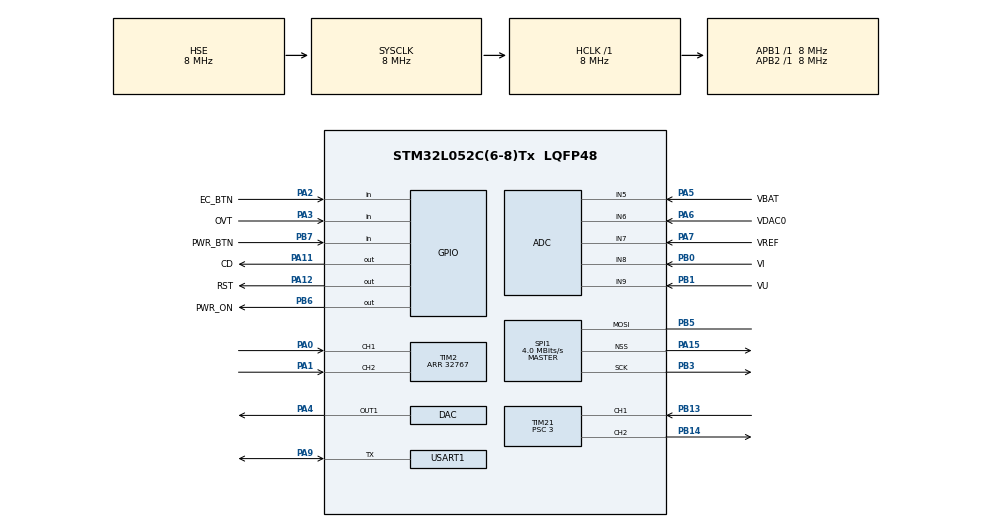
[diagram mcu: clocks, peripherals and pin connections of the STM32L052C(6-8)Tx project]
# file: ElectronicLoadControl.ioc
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ADC.ContinuousConvMode=ENABLE
ADC.ExternalTrigConv=ADC_EXTERNALTRIGCONV_T6_TRGO
ADC.SamplingTime=ADC_SAMPLETIME_160CYCLES_5
DAC.DAC_Trigger=DAC_TRIGGER_T6_TRGO
Dma.ADC.1.Direction=DMA_PERIPH_TO_MEMORY
Dma.ADC.1.Instance=DMA1_Channel1
Dma.ADC.1.MemDataAlignment=DMA_MDATAALIGN_HALFWORD
Dma.ADC.1.MemInc=DMA_MINC_ENABLE
Dma.ADC.1.Mode=DMA_CIRCULAR
Dma.ADC.1.PeriphDataAlignment=DMA_PDATAALIGN_HALFWORD
Dma.ADC.1.PeriphInc=DMA_PINC_DISABLE
Dma.ADC.1.Priority=DMA_PRIORITY_LOW
Dma.DAC_CH1.0.Direction=DMA_MEMORY_TO_PERIPH
Dma.DAC_CH1.0.Instance=DMA1_Channel2
Dma.DAC_CH1.0.MemDataAlignment=DMA_MDATAALIGN_HALFWORD
Dma.DAC_CH1.0.MemInc=DMA_MINC_ENABLE
Dma.DAC_CH1.0.Mode=DMA_NORMAL
Dma.DAC_CH1.0.PeriphDataAlignment=DMA_PDATAALIGN_HALFWORD
Dma.DAC_CH1.0.PeriphInc=DMA_PINC_DISABLE
Dma.DAC_CH1.0.Priority=DMA_PRIORITY_LOW
Dma.Request0=DAC_CH1
Dma.Request1=ADC
Mcu.Family=STM32L0
Mcu.Name=STM32L052C(6-8)Tx
Mcu.Package=LQFP48
NVIC.DMA1_Channel1_IRQn=true\:0\:0\:false\:false\:true\:false\:true
NVIC.DMA1_Channel2_3_IRQn=true\:0\:0\:false\:false\:true\:false\:true
NVIC.SPI1_IRQn=true\:0\:0\:false\:false\:true\:true\:true
NVIC.TIM21_IRQn=true\:0\:0\:false\:false\:true\:true\:true
NVIC.TIM22_IRQn=true\:0\:0\:false\:false\:true\:true\:true
NVIC.TIM6_DAC_IRQn=true\:0\:0\:false\:false\:true\:true\:true
PA0.Signal=S_TIM2_CH1
PA1.Signal=S_TIM2_CH2
PA11.GPIO_Label=CD
PA11.Signal=GPIO_Output
PA12.GPIO_Label=RST
PA12.Signal=GPIO_Output
PA13.Mode=Serial_Wire
PA13.Signal=SYS_SWDIO
PA14.Mode=Serial_Wire
PA14.Signal=SYS_SWCLK
PA15.Mode=NSS_Signal_Hard_Output
PA15.Signal=SPI1_NSS
PA2.GPIO_Label=EC_BTN
PA2.Signal=GPIO_Input
PA3.GPIO_Label=OVT
PA3.Signal=GPIO_Input
PA4.Signal=COMP_DAC1_group
PA5.GPIO_Label=VBAT
PA5.Mode=IN5
PA5.Signal=ADC_IN5
PA6.GPIO_Label=VDAC0
PA6.Mode=IN6
PA6.Signal=ADC_IN6
PA7.GPIO_Label=VREF
PA7.Mode=IN7
PA7.Signal=ADC_IN7
PA9.Mode=Half_duplex(single_wire_mode)
PA9.Signal=USART1_TX
PB0.GPIO_Label=VI
PB0.Mode=IN8
PB0.Signal=ADC_IN8
PB1.GPIO_Label=VU
PB1.Mode=IN9
PB1.Signal=ADC_IN9
PB13.Signal=S_TIM21_CH1
PB14.Signal=S_TIM21_CH2
PB3.Mode=Simplex_Bidirectional_Master
PB3.Signal=SPI1_SCK
PB5.Mode=Simplex_Bidirectional_Master
PB5.Signal=SPI1_MOSI
PB6.GPIO_Label=PWR_ON
PB6.Signal=GPIO_Output
PB7.GPIO_Label=PWR_BTN
PB7.Signal=GPIO_Input
PH0-OSC_IN.Mode=HSE-External-Clock-Source
PH0-OSC_IN.Signal=RCC_OSC_IN
ProjectManager.HeapSize=0x200
ProjectManager.StackSize=0x400
ProjectManager.TargetToolchain=STM32CubeIDE
RCC.AHBFreq_Value=8000000
RCC.APB1Freq_Value=8000000
RCC.APB1TimFreq_Value=8000000
RCC.APB2Freq_Value=8000000
RCC.APB2TimFreq_Value=8000000
RCC.HCLKFreq_Value=8000000
RCC.HSE_VALUE=8000000
RCC.HSI16_VALUE=16000000
RCC.HSI48_VALUE=48000000
RCC.HSI_VALUE=16000000
RCC.LSE_VALUE=32768
RCC.MSI_VALUE=2097000
RCC.SYSCLKFreq_VALUE=8000000
RCC.SYSCLKSource=RCC_SYSCLKSOURCE_HSE
RCC.VCOOutputFreq_Value=48000000
SH.COMP_DAC1_group.0=DAC_OUT1,DAC_OUT1
SH.S_TIM21_CH1.0=TIM21_CH1,Input_Capture1_from_TI1
SH.S_TIM21_CH2.0=TIM21_CH2,PWM Generation2 CH2
SH.S_TIM2_CH1.0=TIM2_CH1,Encoder_Interface
SH.S_TIM2_CH2.0=TIM2_CH2,Encoder_Interface
SPI1.CalculateBaudRate=4.0 MBits/s
SPI1.Direction=SPI_DIRECTION_1LINE
SPI1.Mode=SPI_MODE_MASTER
SPI1.VirtualNSS=VM_NSSHARD
SPI1.VirtualType=VM_MASTER
TIM2.EncoderMode=TIM_ENCODERMODE_TI1
TIM2.IC1Filter=15
TIM2.IC1Polarity=TIM_ICPOLARITY_FALLING
TIM2.IC2Filter=15
TIM2.IC2Polarity=TIM_ICPOLARITY_FALLING
TIM2.Period=32767
TIM21.Channel-Input_Capture1_from_TI1=TIM_CHANNEL_1
TIM21.Channel-PWM\ Generation2\ CH2=TIM_CHANNEL_2
TIM21.ICFilter_CH1=15
TIM21.Period=99
TIM21.Prescaler=3
TIM21.Pulse-PWM\ Generation2\ CH2=49
TIM22.Period=99
TIM22.Prescaler=399
TIM6.AutoReloadPreload=TIM_AUTORELOAD_PRELOAD_ENABLE
TIM6.Period=99
TIM6.Prescaler=79
TIM6.TIM_MasterOutputTrigger=TIM_TRGO_UPDATE
USART1.VirtualMode-Half_duplex(single_wire_mode)=VM_ASYNC
VP_TIM21_VS_ClockSourceINT.Mode=Internal
VP_TIM22_VS_ClockSourceINT.Mode=Internal
VP_TIM6_VS_ClockSourceINT.Mode=Enable_Timer
board=custom

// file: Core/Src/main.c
/* USER CODE BEGIN Header */
/**
  ******************************************************************************
  * @file           : main.c
  * @brief          : Main program body
  ******************************************************************************
  * @attention
  *
  * <h2><center>&copy; Copyright (c) 2023 STMicroelectronics.
  * All rights reserved.</center></h2>
  *
  * This software component is licensed by ST under BSD 3-Clause license,
  * the "License"; You may not use this file except in compliance with the
  * License. You may obtain a copy of the License at:
  *                        opensource.org/licenses/BSD-3-Clause
  *
  ******************************************************************************
  */
/* USER CODE END Header */
#include "main.h"

/* USER CODE BEGIN Includes */
#include "display_windows.h"
/* USER CODE END Includes */

ADC_HandleTypeDef hadc;
DMA_HandleTypeDef hdma_adc;

DAC_HandleTypeDef hdac;
DMA_HandleTypeDef hdma_dac_ch1;

SPI_HandleTypeDef hspi1;

TIM_HandleTypeDef htim2;
TIM_HandleTypeDef htim6;
TIM_HandleTypeDef htim21;
TIM_HandleTypeDef htim22;

UART_HandleTypeDef huart1;

/* USER CODE BEGIN PV */
TIM_HandleTypeDef htim22;

extern Data loadData;
/* USER CODE END PV */

void SystemClock_Config(void);
static void MX_GPIO_Init(void);
static void MX_DMA_Init(void);
static void MX_DAC_Init(void);
static void MX_TIM2_Init(void);
static void MX_ADC_Init(void);
static void MX_TIM6_Init(void);
static void MX_SPI1_Init(void);
static void MX_TIM21_Init(void);
static void MX_USART1_UART_Init(void);
static void MX_TIM22_Init(void);

int main(void)
{
  /* USER CODE BEGIN 1 */
	uint8_t ec_btn_prev_state = 0;
	Action encoder_offset_action = NoAction;
	int16_t encoder_offset = 0;
	uint8_t is_current_offset_too_big = 0;
  /* USER CODE END 1 */

  /* MCU Configuration--------------------------------------------------------*/

  /* Reset of all peripherals, Initializes the Flash interface and the Systick. */
  HAL_Init();

  /* Configure the system clock */
  SystemClock_Config();

  /* Initialize all configured peripherals */
  MX_GPIO_Init();
  // wait power on
  HAL_Delay(1000);
  load_control_drv->powerControl(1);
  // continue initialization
  MX_DMA_Init();
  MX_DAC_Init();
  MX_TIM2_Init();
  MX_ADC_Init();
  MX_TIM6_Init();
  MX_SPI1_Init();
  MX_TIM21_Init();
  MX_USART1_UART_Init();
  MX_TIM22_Init();
  /* USER CODE BEGIN 2 */
  MX_TIM22_Init();

  // init load control
  load_control_drv->loadInit();

  // init display windows and draw main window
  display_wnd_ctrl->windowsInit();

  /* USER CODE END 2 */

  /* Infinite loop */
  while (1)
  {

    /* USER CODE BEGIN 3 */
	  if(loadData.is_update_event)
	  {
		  loadData.is_update_event = 0;

		  // check power button state
		  load_control_drv->checkPowerButton();

		  // handle encoder button pressed event
		  if((EC_BTN_GPIO_Port->IDR & EC_BTN_Pin) && ec_btn_prev_state) // button was released
		  {
			    ec_btn_prev_state = 0;
		  }
		  if(!(EC_BTN_GPIO_Port->IDR & EC_BTN_Pin) && !ec_btn_prev_state) // button was pressed
		  {
				ec_btn_prev_state = 1;
				// change window
				display_wnd_ctrl->goToNextWindowOrItem();
		  }

		  // handle encoder offset event
		  encoder_offset = load_control_drv->getEncoderOffset();
		  if(encoder_offset != 0)
		  {
				encoder_offset_action = (encoder_offset > 0) ? Next : Prev;
				display_wnd_ctrl->updateWindowParameters(encoder_offset_action);
		  }

		  // update DS18B20 temperature and check over temperature event
		  load_control_drv->updateTemperature();
		  loadData.is_ovt = load_control_drv->checkOvertemperature();
		  if(loadData.is_ovt && loadData.on_state) // if over temperature and load is enabled reset current
		  {
			  load_control_drv->setEnabled(0);
		  }
		  // fan speed control
		  load_control_drv->fanSpeedControl();
	  }

	  // handle end of ADC data conversion event
	  if(loadData.is_conversion_ended)
	  {
		  loadData.is_conversion_ended = 0;

		  // update ADC measured parameters
		  load_control_drv->calcMeasuredParams();

		  // check accumulator voltage in Discharge mode
		  if(loadData.load_settings.load_work_mode == BatteryDischarge && loadData.voltage < loadData.load_settings.discharge_voltage
				  && !loadData.is_battery_discharge_detected && loadData.on_state)
		  {
			  loadData.is_battery_discharge_detected = 1;
			  // if accumulator voltage lower discharge voltage level, reset current
			  load_control_drv->setEnabled(0);
			  // show message box
			  display_wnd_ctrl->drawBatteryDischargedMsgBox();
		  }

		  // set current value in constant power mode
		  if(loadData.load_settings.load_work_mode == BatteryDischarge && loadData.load_settings.bat_disch_option == ConstPower && loadData.on_state)
		  {
			  // calculate current value
			  if(loadData.voltage >= 0.1f)
			  {
				  loadData.set_current = loadData.set_power/loadData.voltage;
				  if(loadData.set_current > 20.0f) loadData.set_current = 20.0f;
			  }
			  else
			  {
				  load_control_drv->setEnabled(0); // disable load if no voltage
			  }
		  }

		  // update current value
		  if(loadData.on_state && !loadData.is_calibration_mode)
		  {
			  // current controller
#ifdef IS_CURRENT_CONTROLLER_ENABLED
			  load_control_drv->currentController();
#else
			  // check to calculate set current offset value
			  if(!loadData.is_offset_checked)
			  {
				  if(loadData.offset_check_cntr-- == 0)
				  {
					  loadData.set_current_offset = loadData.set_current - loadData.measured_current;
					  if(loadData.set_current >= 0.99f)
					  {
						  is_current_offset_too_big = (loadData.set_current_offset > 0.1f*loadData.set_current);
					  }
					  else
					  {
						  is_current_offset_too_big = (loadData.set_current_offset > 0.1f);
					  }

					  // if offset too big (for example no load), restart check process
					  if(is_current_offset_too_big)
					  {
						  loadData.offset_check_cntr = OFFSET_CHECK_DELAY_TICKS;
						  loadData.set_current_offset = 0.0f;
					  }
					  else
					  {
						  loadData.is_offset_checked = 1;
					  }
				  }
			  }
			  load_control_drv->setCurrentInAmperes(loadData.set_current + loadData.set_current_offset);
#endif
		  }

		  // update display data
		  display_wnd_ctrl->refreshWindow();
	  }
  }
  /* USER CODE END 3 */
}

void SystemClock_Config(void)
{
  RCC_OscInitTypeDef RCC_OscInitStruct = {0};
  RCC_ClkInitTypeDef RCC_ClkInitStruct = {0};
  RCC_PeriphCLKInitTypeDef PeriphClkInit = {0};

  /** Configure the main internal regulator output voltage
  */
  __HAL_PWR_VOLTAGESCALING_CONFIG(PWR_REGULATOR_VOLTAGE_SCALE1);
  /** Initializes the RCC Oscillators according to the specified parameters
  * in the RCC_OscInitTypeDef structure.
  */
  RCC_OscInitStruct.OscillatorType = RCC_OSCILLATORTYPE_HSE;
  RCC_OscInitStruct.HSEState = RCC_HSE_BYPASS;
  RCC_OscInitStruct.PLL.PLLState = RCC_PLL_NONE;
  if (HAL_RCC_OscConfig(&RCC_OscInitStruct) != HAL_OK)
  {
    Error_Handler();
  }
  /** Initializes the CPU, AHB and APB buses clocks
  */
  RCC_ClkInitStruct.ClockType = RCC_CLOCKTYPE_HCLK|RCC_CLOCKTYPE_SYSCLK
                              |RCC_CLOCKTYPE_PCLK1|RCC_CLOCKTYPE_PCLK2;
  RCC_ClkInitStruct.SYSCLKSource = RCC_SYSCLKSOURCE_HSE;
  RCC_ClkInitStruct.AHBCLKDivider = RCC_SYSCLK_DIV1;
  RCC_ClkInitStruct.APB1CLKDivider = RCC_HCLK_DIV1;
  RCC_ClkInitStruct.APB2CLKDivider = RCC_HCLK_DIV1;

  if (HAL_RCC_ClockConfig(&RCC_ClkInitStruct, FLASH_LATENCY_0) != HAL_OK)
  {
    Error_Handler();
  }
  PeriphClkInit.PeriphClockSelection = RCC_PERIPHCLK_USART1;
  PeriphClkInit.Usart1ClockSelection = RCC_USART1CLKSOURCE_PCLK2;
  if (HAL_RCCEx_PeriphCLKConfig(&PeriphClkInit) != HAL_OK)
  {
    Error_Handler();
  }
  HAL_RCC_MCOConfig(RCC_MCO1, RCC_MCO1SOURCE_SYSCLK, RCC_MCODIV_1);
}

static void MX_ADC_Init(void)
{

  ADC_ChannelConfTypeDef sConfig = {0};

  /** Configure the global features of the ADC (Clock, Resolution, Data Alignment and number of conversion)
  */
  hadc.Instance = ADC1;
  hadc.Init.OversamplingMode = DISABLE;
  hadc.Init.ClockPrescaler = ADC_CLOCK_SYNC_PCLK_DIV1;
  hadc.Init.Resolution = ADC_RESOLUTION_12B;
  hadc.Init.SamplingTime = ADC_SAMPLETIME_160CYCLES_5;
  hadc.Init.ScanConvMode = ADC_SCAN_DIRECTION_FORWARD;
  hadc.Init.DataAlign = ADC_DATAALIGN_RIGHT;
  hadc.Init.ContinuousConvMode = DISABLE;
  hadc.Init.DiscontinuousConvMode = DISABLE;
  hadc.Init.ExternalTrigConvEdge = ADC_EXTERNALTRIGCONVEDGE_RISING;
  hadc.Init.ExternalTrigConv = ADC_EXTERNALTRIGCONV_T6_TRGO;
  hadc.Init.DMAContinuousRequests = ENABLE;
  hadc.Init.EOCSelection = ADC_EOC_SEQ_CONV;
  hadc.Init.Overrun = ADC_OVR_DATA_PRESERVED;
  hadc.Init.LowPowerAutoWait = DISABLE;
  hadc.Init.LowPowerFrequencyMode = DISABLE;
  hadc.Init.LowPowerAutoPowerOff = DISABLE;
  if (HAL_ADC_Init(&hadc) != HAL_OK)
  {
    Error_Handler();
  }
  /** Configure for the selected ADC regular channel to be converted.
  */
  sConfig.Channel = ADC_CHANNEL_5;
  sConfig.Rank = ADC_RANK_CHANNEL_NUMBER;
  if (HAL_ADC_ConfigChannel(&hadc, &sConfig) != HAL_OK)
  {
    Error_Handler();
  }
  /** Configure for the selected ADC regular channel to be converted.
  */
  sConfig.Channel = ADC_CHANNEL_6;
  if (HAL_ADC_ConfigChannel(&hadc, &sConfig) != HAL_OK)
  {
    Error_Handler();
  }
  /** Configure for the selected ADC regular channel to be converted.
  */
  sConfig.Channel = ADC_CHANNEL_7;
  if (HAL_ADC_ConfigChannel(&hadc, &sConfig) != HAL_OK)
  {
    Error_Handler();
  }
  /** Configure for the selected ADC regular channel to be converted.
  */
  sConfig.Channel = ADC_CHANNEL_8;
  if (HAL_ADC_ConfigChannel(&hadc, &sConfig) != HAL_OK)
  {
    Error_Handler();
  }
  /** Configure for the selected ADC regular channel to be converted.
  */
  sConfig.Channel = ADC_CHANNEL_9;
  if (HAL_ADC_ConfigChannel(&hadc, &sConfig) != HAL_OK)
  {
    Error_Handler();
  }

}

static void MX_DAC_Init(void)
{

  DAC_ChannelConfTypeDef sConfig = {0};

  /** DAC Initialization
  */
  hdac.Instance = DAC;
  if (HAL_DAC_Init(&hdac) != HAL_OK)
  {
    Error_Handler();
  }
  /** DAC channel OUT1 config
  */
  sConfig.DAC_Trigger = DAC_TRIGGER_T6_TRGO;
  sConfig.DAC_OutputBuffer = DAC_OUTPUTBUFFER_ENABLE;
  if (HAL_DAC_ConfigChannel(&hdac, &sConfig, DAC_CHANNEL_1) != HAL_OK)
  {
    Error_Handler();
  }

}

static void MX_SPI1_Init(void)
{

  /* SPI1 parameter configuration*/
  hspi1.Instance = SPI1;
  hspi1.Init.Mode = SPI_MODE_MASTER;
  hspi1.Init.Direction = SPI_DIRECTION_1LINE;
  hspi1.Init.DataSize = SPI_DATASIZE_8BIT;
  hspi1.Init.CLKPolarity = SPI_POLARITY_LOW;
  hspi1.Init.CLKPhase = SPI_PHASE_1EDGE;
  hspi1.Init.NSS = SPI_NSS_HARD_OUTPUT;
  hspi1.Init.BaudRatePrescaler = SPI_BAUDRATEPRESCALER_2;
  hspi1.Init.FirstBit = SPI_FIRSTBIT_MSB;
  hspi1.Init.TIMode = SPI_TIMODE_DISABLE;
  hspi1.Init.CRCCalculation = SPI_CRCCALCULATION_DISABLE;
  hspi1.Init.CRCPolynomial = 7;
  if (HAL_SPI_Init(&hspi1) != HAL_OK)
  {
    Error_Handler();
  }

}

static void MX_TIM2_Init(void)
{

  TIM_Encoder_InitTypeDef sConfig = {0};
  TIM_MasterConfigTypeDef sMasterConfig = {0};

  htim2.Instance = TIM2;
  htim2.Init.Prescaler = 0;
  htim2.Init.CounterMode = TIM_COUNTERMODE_UP;
  htim2.Init.Period = 65535;
  htim2.Init.ClockDivision = TIM_CLOCKDIVISION_DIV1;
  htim2.Init.AutoReloadPreload = TIM_AUTORELOAD_PRELOAD_DISABLE;
  sConfig.EncoderMode = TIM_ENCODERMODE_TI1;
  sConfig.IC1Polarity = TIM_ICPOLARITY_FALLING;
  sConfig.IC1Selection = TIM_ICSELECTION_DIRECTTI;
  sConfig.IC1Prescaler = TIM_ICPSC_DIV1;
  sConfig.IC1Filter = 15;
  sConfig.IC2Polarity = TIM_ICPOLARITY_FALLING;
  sConfig.IC2Selection = TIM_ICSELECTION_DIRECTTI;
  sConfig.IC2Prescaler = TIM_ICPSC_DIV1;
  sConfig.IC2Filter = 15;
  if (HAL_TIM_Encoder_Init(&htim2, &sConfig) != HAL_OK)
  {
    Error_Handler();
  }
  sMasterConfig.MasterOutputTrigger = TIM_TRGO_RESET;
  sMasterConfig.MasterSlaveMode = TIM_MASTERSLAVEMODE_DISABLE;
  if (HAL_TIMEx_MasterConfigSynchronization(&htim2, &sMasterConfig) != HAL_OK)
  {
    Error_Handler();
  }
  /* USER CODE BEGIN TIM2_Init 2 */
  TIM2->CNT = 32767;
  HAL_TIM_Encoder_Start(&htim2, TIM_CHANNEL_1);
  /* USER CODE END TIM2_Init 2 */

}

static void MX_TIM6_Init(void)
{

  TIM_MasterConfigTypeDef sMasterConfig = {0};

  htim6.Instance = TIM6;
  htim6.Init.Prescaler = 79;
  htim6.Init.CounterMode = TIM_COUNTERMODE_UP;
  htim6.Init.Period = 99;
  htim6.Init.AutoReloadPreload = TIM_AUTORELOAD_PRELOAD_ENABLE;
  if (HAL_TIM_Base_Init(&htim6) != HAL_OK)
  {
    Error_Handler();
  }
  sMasterConfig.MasterOutputTrigger = TIM_TRGO_UPDATE;
  sMasterConfig.MasterSlaveMode = TIM_MASTERSLAVEMODE_DISABLE;
  if (HAL_TIMEx_MasterConfigSynchronization(&htim6, &sMasterConfig) != HAL_OK)
  {
    Error_Handler();
  }

}

static void MX_TIM21_Init(void)
{

  TIM_ClockConfigTypeDef sClockSourceConfig = {0};
  TIM_MasterConfigTypeDef sMasterConfig = {0};
  TIM_IC_InitTypeDef sConfigIC = {0};
  TIM_OC_InitTypeDef sConfigOC = {0};

  htim21.Instance = TIM21;
  htim21.Init.Prescaler = 24;
  htim21.Init.CounterMode = TIM_COUNTERMODE_UP;
  htim21.Init.Period = 99;
  htim21.Init.ClockDivision = TIM_CLOCKDIVISION_DIV1;
  htim21.Init.AutoReloadPreload = TIM_AUTORELOAD_PRELOAD_ENABLE;
  if (HAL_TIM_Base_Init(&htim21) != HAL_OK)
  {
    Error_Handler();
  }
  sClockSourceConfig.ClockSource = TIM_CLOCKSOURCE_INTERNAL;
  if (HAL_TIM_ConfigClockSource(&htim21, &sClockSourceConfig) != HAL_OK)
  {
    Error_Handler();
  }
  if (HAL_TIM_IC_Init(&htim21) != HAL_OK)
  {
    Error_Handler();
  }
  if (HAL_TIM_PWM_Init(&htim21) != HAL_OK)
  {
    Error_Handler();
  }
  sMasterConfig.MasterOutputTrigger = TIM_TRGO_RESET;
  sMasterConfig.MasterSlaveMode = TIM_MASTERSLAVEMODE_DISABLE;
  if (HAL_TIMEx_MasterConfigSynchronization(&htim21, &sMasterConfig) != HAL_OK)
  {
    Error_Handler();
  }
  sConfigIC.ICPolarity = TIM_INPUTCHANNELPOLARITY_FALLING;
  sConfigIC.ICSelection = TIM_ICSELECTION_DIRECTTI;
  sConfigIC.ICPrescaler = TIM_ICPSC_DIV1;
  sConfigIC.ICFilter = 15;
  if (HAL_TIM_IC_ConfigChannel(&htim21, &sConfigIC, TIM_CHANNEL_1) != HAL_OK)
  {
    Error_Handler();
  }
  sConfigOC.OCMode = TIM_OCMODE_PWM1;
  sConfigOC.Pulse = 0;
  sConfigOC.OCPolarity = TIM_OCPOLARITY_HIGH;
  sConfigOC.OCFastMode = TIM_OCFAST_DISABLE;
  if (HAL_TIM_PWM_ConfigChannel(&htim21, &sConfigOC, TIM_CHANNEL_2) != HAL_OK)
  {
    Error_Handler();
  }
  HAL_TIM_MspPostInit(&htim21);

  HAL_TIM_Base_Start_IT(&htim21);
  HAL_TIM_IC_Start_IT(&htim21, TIM_CHANNEL_1);
  HAL_TIM_PWM_Start(&htim21, TIM_CHANNEL_2);

}

static void MX_TIM22_Init(void)
{

  TIM_ClockConfigTypeDef sClockSourceConfig = {0};
  TIM_MasterConfigTypeDef sMasterConfig = {0};

  htim22.Instance = TIM22;
  htim22.Init.Prescaler = 399;
  htim22.Init.CounterMode = TIM_COUNTERMODE_UP;
  htim22.Init.Period = 999;
  htim22.Init.ClockDivision = TIM_CLOCKDIVISION_DIV1;
  htim22.Init.AutoReloadPreload = TIM_AUTORELOAD_PRELOAD_DISABLE;
  if (HAL_TIM_Base_Init(&htim22) != HAL_OK)
  {
    Error_Handler();
  }
  sClockSourceConfig.ClockSource = TIM_CLOCKSOURCE_INTERNAL;
  if (HAL_TIM_ConfigClockSource(&htim22, &sClockSourceConfig) != HAL_OK)
  {
    Error_Handler();
  }
  sMasterConfig.MasterOutputTrigger = TIM_TRGO_RESET;
  sMasterConfig.MasterSlaveMode = TIM_MASTERSLAVEMODE_DISABLE;
  if (HAL_TIMEx_MasterConfigSynchronization(&htim22, &sMasterConfig) != HAL_OK)
  {
    Error_Handler();
  }
  /* USER CODE BEGIN TIM22_Init 2 */
  HAL_TIM_Base_Start_IT(&htim22);
  /* USER CODE END TIM22_Init 2 */

}

static void MX_USART1_UART_Init(void)
{

  huart1.Instance = USART1;
  huart1.Init.BaudRate = 115200;
  huart1.Init.WordLength = UART_WORDLENGTH_8B;
  huart1.Init.StopBits = UART_STOPBITS_1;
  huart1.Init.Parity = UART_PARITY_NONE;
  huart1.Init.Mode = UART_MODE_TX_RX;
  huart1.Init.HwFlowCtl = UART_HWCONTROL_NONE;
  huart1.Init.OverSampling = UART_OVERSAMPLING_16;
  huart1.Init.OneBitSampling = UART_ONE_BIT_SAMPLE_DISABLE;
  huart1.AdvancedInit.AdvFeatureInit = UART_ADVFEATURE_NO_INIT;
  if (HAL_HalfDuplex_Init(&huart1) != HAL_OK)
  {
    Error_Handler();
  }

}

static void MX_DMA_Init(void)
{

  /* DMA controller clock enable */
  __HAL_RCC_DMA1_CLK_ENABLE();

  /* DMA interrupt init */
  /* DMA1_Channel1_IRQn interrupt configuration */
  HAL_NVIC_SetPriority(DMA1_Channel1_IRQn, 0, 0);
  HAL_NVIC_EnableIRQ(DMA1_Channel1_IRQn);
  /* DMA1_Channel2_3_IRQn interrupt configuration */
  HAL_NVIC_SetPriority(DMA1_Channel2_3_IRQn, 0, 0);
  HAL_NVIC_EnableIRQ(DMA1_Channel2_3_IRQn);

}

static void MX_GPIO_Init(void)
{
  GPIO_InitTypeDef GPIO_InitStruct = {0};

  /* GPIO Ports Clock Enable */
  __HAL_RCC_GPIOH_CLK_ENABLE();
  __HAL_RCC_GPIOA_CLK_ENABLE();
  __HAL_RCC_GPIOB_CLK_ENABLE();

  /*Configure GPIO pin Output Level */
  HAL_GPIO_WritePin(GPIOA, CD_Pin|RST_Pin, GPIO_PIN_RESET);

  /*Configure GPIO pin Output Level */
  HAL_GPIO_WritePin(PWR_ON_GPIO_Port, PWR_ON_Pin, GPIO_PIN_RESET);

  /*Configure GPIO pins : EC_BTN_Pin OVT_Pin */
  GPIO_InitStruct.Pin = EC_BTN_Pin|OVT_Pin;
  GPIO_InitStruct.Mode = GPIO_MODE_INPUT;
  GPIO_InitStruct.Pull = GPIO_NOPULL;
  HAL_GPIO_Init(GPIOA, &GPIO_InitStruct);

  /*Configure GPIO pins : CD_Pin RST_Pin */
  GPIO_InitStruct.Pin = CD_Pin|RST_Pin;
  GPIO_InitStruct.Mode = GPIO_MODE_OUTPUT_PP;
  GPIO_InitStruct.Pull = GPIO_NOPULL;
  GPIO_InitStruct.Speed = GPIO_SPEED_FREQ_LOW;
  HAL_GPIO_Init(GPIOA, &GPIO_InitStruct);

  /*Configure GPIO pin : PWR_ON_Pin */
  GPIO_InitStruct.Pin = PWR_ON_Pin;
  GPIO_InitStruct.Mode = GPIO_MODE_OUTPUT_PP;
  GPIO_InitStruct.Pull = GPIO_NOPULL;
  GPIO_InitStruct.Speed = GPIO_SPEED_FREQ_LOW;
  HAL_GPIO_Init(PWR_ON_GPIO_Port, &GPIO_InitStruct);

  /*Configure GPIO pin : PWR_BTN_Pin */
  GPIO_InitStruct.Pin = PWR_BTN_Pin;
  GPIO_InitStruct.Mode = GPIO_MODE_INPUT;
  GPIO_InitStruct.Pull = GPIO_PULLUP;
  HAL_GPIO_Init(PWR_BTN_GPIO_Port, &GPIO_InitStruct);

}

void Error_Handler(void)
{
  __disable_irq();
  while (1)
  {
  }
}
